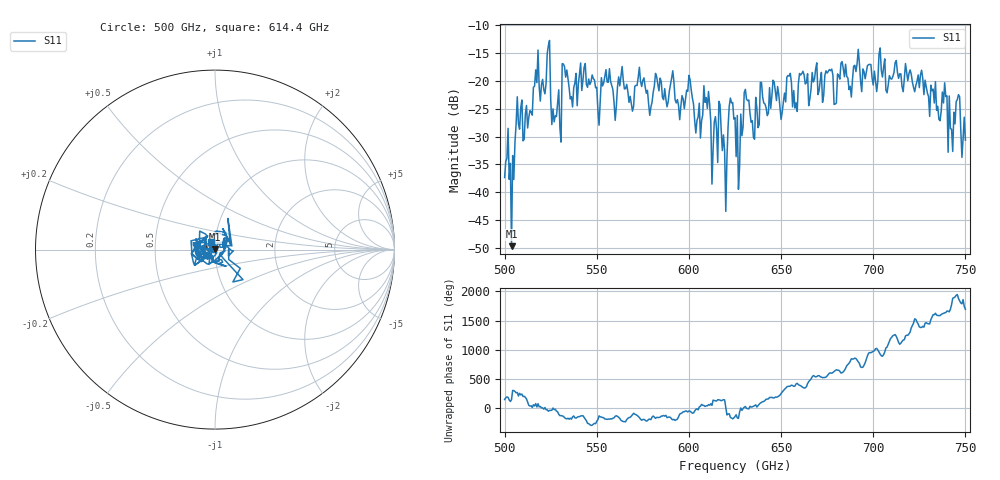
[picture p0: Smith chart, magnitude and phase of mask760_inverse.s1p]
!Created with skrf (http://scikit-rf.org).
# GHz S MA R 50.0
!freq magS11 angS11
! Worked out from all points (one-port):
!   401 points, 500 GHz to 750 GHz, reference 50 ohm
!   lowest |S11| = -49.6 dB at 503.8 GHz (marker M1), VSWR 1.01, Z = 49.8 + j0.223 ohm
!   |S11| at or under -10 dB: start of sweep to end of sweep
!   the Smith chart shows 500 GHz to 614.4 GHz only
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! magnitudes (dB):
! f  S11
! 500 GHz  -37.3
! 503.8 GHz  -49.6
! 507.5 GHz  -27.7
! 513.8 GHz  -25.4
! 516.9 GHz  -18.1
! 523.8 GHz  -13.7
! 526.9 GHz  -27.4
! 531.2 GHz  -17.0
! 532.5 GHz  -17.5
! 550.6 GHz  -25.3
! 562.5 GHz  -20.9
! 593.8 GHz  -23.4
! 609.4 GHz  -23.0
! 613.1 GHz  -32.3
! 617.5 GHz  -28.8
! 619.4 GHz  -32.6
! 622.5 GHz  -23.1
! 625 GHz  -26.6
! 626.2 GHz  -26.2
! 631.2 GHz  -23.3
! 634.4 GHz  -27.2
! 640 GHz  -23.0
! 656.2 GHz  -24.7
! 687.5 GHz  -21.0
! 718.8 GHz  -20.0
! 741.9 GHz  -28.6
! 746.2 GHz  -22.5
! 750 GHz  -30.6
